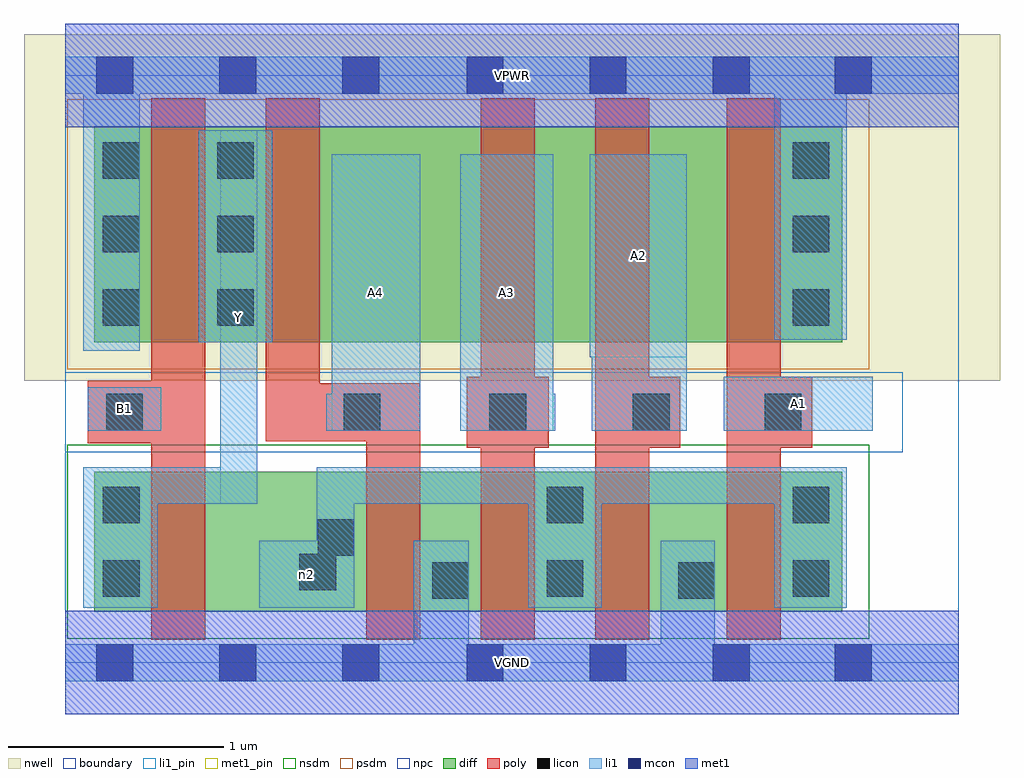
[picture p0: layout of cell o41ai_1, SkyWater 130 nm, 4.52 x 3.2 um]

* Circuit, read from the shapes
.subckt o41ai_1 A1 A2 A3 A4 B1 VGND VPWR Y n2
XM1 n2 B1 Y VSUBS sky130_fd_pr__nfet_01v8 w=0.65 l=0.25
XM2 VGND A4 n2 VSUBS sky130_fd_pr__nfet_01v8 w=0.65 l=0.25
XM3 n2 A3 VGND VSUBS sky130_fd_pr__nfet_01v8 w=0.65 l=0.25
XM4 VGND A2 n2 VSUBS sky130_fd_pr__nfet_01v8 w=0.65 l=0.25
XM5 n2 A1 VGND VSUBS sky130_fd_pr__nfet_01v8 w=0.65 l=0.25
XM6 Y B1 VPWR n1 sky130_fd_pr__pfet_01v8 w=1 l=0.25
XM7 n3 A4 Y n1 sky130_fd_pr__pfet_01v8 w=1 l=0.25
XM8 n4 A3 n3 n1 sky130_fd_pr__pfet_01v8 w=1 l=0.25
XM9 n5 A2 n4 n1 sky130_fd_pr__pfet_01v8 w=1 l=0.25
XM10 VPWR A1 n5 n1 sky130_fd_pr__pfet_01v8 w=1 l=0.25
.ends

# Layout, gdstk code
import gdstk
lib = gdstk.Library(unit=1e-6, precision=1e-09)
def R(c, l, rs):  # rectangles x0, y0, x1, y1
    for r in rs: c.add(gdstk.rectangle(r[:2], r[2:], *l))
def A(c, l, x, y, w, h, nx, ny, dx, dy):  # array of equal rectangles
    R(c, l, [(x+i*dx, y+j*dy, x+i*dx+w, y+j*dy+h) for i in range(nx) for j in range(ny)])
nwell = (64, 20)
diff = (65, 20)
poly = (66, 20)
licon = (66, 44)
li1_pin = (67, 16)
li1 = (67, 20)
mcon = (67, 44)
met1_pin = (68, 16)
met1 = (68, 20)
nsdm = (93, 44)
psdm = (94, 20)
npc = (95, 20)
boundary = (235, 4)

o41ai_1 = lib.new_cell('o41ai_1')
R(o41ai_1, nwell, [(-0.19,1.305,4.33,2.91), (0,1.305,4.14,2.91)])
R(o41ai_1, diff, [(0.135,0.235,3.6,0.885), (0.135,1.485,3.6,2.485)])
R(o41ai_1, poly, [(0.4,0.105,0.65,2.615), (1.395,0.105,1.645,1.295), (1.925,0.105,2.175,2.615), (2.455,0.105,2.705,2.615), (3.065,0.105,3.315,2.615), (1.86,0.995,2.24,1.325), (2.455,0.995,2.85,1.325), (3.065,0.995,3.46,1.325), (0.105,1.015,0.65,1.305), (0.93,1.025,1.18,2.615), (0.93,1.025,1.645,1.295)])
A(o41ai_1, licon, 0.175, 1.56, 0.17, 0.17, 1, 3, 0, 0.34)
A(o41ai_1, licon, 0.705, 1.56, 0.17, 0.17, 1, 3, 0, 0.34)
A(o41ai_1, licon, 3.37, 1.56, 0.17, 0.17, 1, 3, 0, 0.34)
R(o41ai_1, licon, [(1.7,0.295,1.87,0.465), (2.84,0.295,3.01,0.465), (0.175,0.305,0.345,0.475), (2.23,0.305,2.4,0.475), (3.37,0.305,3.54,0.475), (1.085,0.335,1.255,0.505), (1.17,0.495,1.34,0.665), (0.175,0.645,0.345,0.815), (2.23,0.645,2.4,0.815), (3.37,0.645,3.54,0.815), (0.19,1.075,0.36,1.245), (1.29,1.075,1.46,1.245), (1.965,1.075,2.135,1.245), (2.63,1.075,2.8,1.245), (3.24,1.075,3.41,1.245)])
R(o41ai_1, li1_pin, [(0.72,0.735,0.89,2.465), (0.105,1.075,0.445,1.275), (1.235,1.075,1.645,2.355), (1.83,1.075,2.26,2.355), (3.05,1.075,3.74,1.325), (2.43,1.415,2.88,2.355)])
R(o41ai_1, li1, [(0,-0.085,4.14,0.085), (1.615,-0.085,1.87,0.565), (2.76,-0.085,3.01,0.565), (0.085,0.255,0.43,0.905), (0.9,0.255,1.34,0.565), (1.165,0.255,1.34,0.905), (2.145,0.255,2.485,0.905), (3.285,0.255,3.62,0.905), (0.085,0.735,0.89,0.905), (0.72,0.735,0.89,2.465), (1.165,0.735,3.62,0.905), (0.105,1.075,0.445,1.275), (1.21,1.075,1.645,1.245), (1.235,1.075,1.645,2.355), (1.83,1.075,2.26,2.355), (1.83,1.075,2.27,1.245), (2.44,1.075,2.88,2.355), (3.05,1.075,3.74,1.325), (2.43,1.415,2.88,2.355), (0.085,1.445,0.345,2.805), (0.62,1.485,0.96,2.465), (3.285,1.495,3.62,2.805), (0,2.635,4.14,2.805)])
A(o41ai_1, mcon, 0.145, -0.085, 0.17, 0.17, 3, 2, 0.57, 2.72)
A(o41ai_1, mcon, 1.86, -0.085, 0.17, 0.17, 3, 2, 0.57, 2.72)
R(o41ai_1, mcon, [(3.565,-0.085,3.735,0.085), (3.565,2.635,3.735,2.805)])
R(o41ai_1, met1_pin, [(0,-0.24,4.14,0.24), (0,2.48,4.14,2.96)])
R(o41ai_1, met1, [(0,-0.24,4.14,0.24), (0,2.48,4.14,2.96)])
R(o41ai_1, nsdm, [(0.01,0.11,3.725,1.01)])
R(o41ai_1, psdm, [(0.01,1.36,3.725,2.61)])
R(o41ai_1, npc, [(0,0.975,3.88,1.345)])
R(o41ai_1, boundary, [(0,0,4.14,2.72)])
o41ai_1.add(gdstk.Label('A1', (3.395,1.2), layer=67, texttype=5))
o41ai_1.add(gdstk.Label('A2', (2.655,1.885), layer=67, texttype=5))
o41ai_1.add(gdstk.Label('A3', (2.045,1.715), layer=67, texttype=5))
o41ai_1.add(gdstk.Label('A4', (1.44,1.715), layer=67, texttype=5))
o41ai_1.add(gdstk.Label('B1', (0.275,1.175), layer=67, texttype=5))
o41ai_1.add(gdstk.Label('Y', (0.805,1.6), layer=67, texttype=5))
o41ai_1.add(gdstk.Label('n2', (1.12,0.41), layer=67, texttype=5))
o41ai_1.add(gdstk.Label('VPWR', (2.07,2.72), layer=68, texttype=5))
o41ai_1.add(gdstk.Label('VGND', (2.07,0), layer=68, texttype=5))
o41ai_1.add(gdstk.Label('A1', (3.395,1.2), layer=67, texttype=16))
o41ai_1.add(gdstk.Label('A2', (2.655,1.885), layer=67, texttype=16))
o41ai_1.add(gdstk.Label('A3', (2.045,1.715), layer=67, texttype=16))
o41ai_1.add(gdstk.Label('A4', (1.44,1.715), layer=67, texttype=16))
o41ai_1.add(gdstk.Label('B1', (0.275,1.175), layer=67, texttype=16))
o41ai_1.add(gdstk.Label('Y', (0.805,1.6), layer=67, texttype=16))
o41ai_1.add(gdstk.Label('VPWR', (2.07,2.72), layer=68, texttype=16))
o41ai_1.add(gdstk.Label('VGND', (2.07,0), layer=68, texttype=16))

lib.write_gds('o41ai_1.gds')
